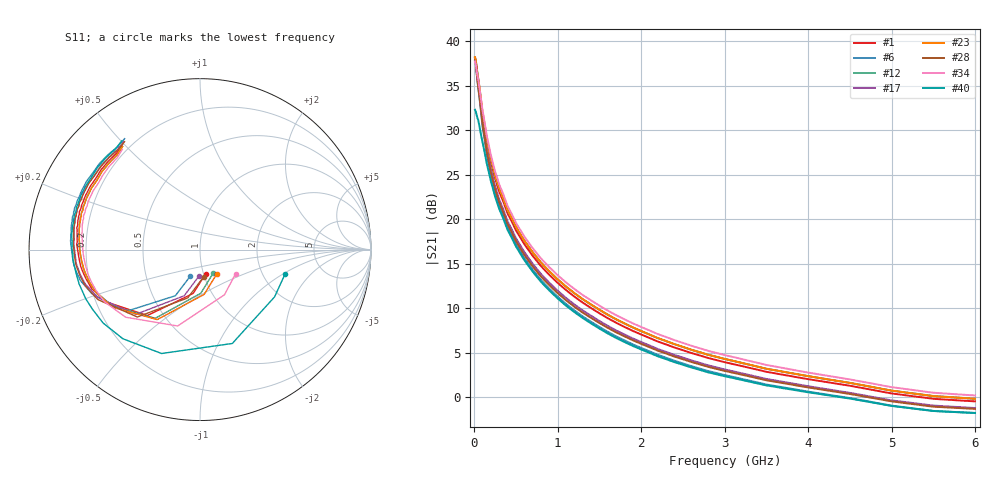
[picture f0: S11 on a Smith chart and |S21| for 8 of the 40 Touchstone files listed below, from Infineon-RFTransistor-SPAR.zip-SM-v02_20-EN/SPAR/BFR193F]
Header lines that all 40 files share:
! Infineon Technologies  Discrete & RF Semiconductors
! BFR193F
! Common Emitter S-Parameters:  Jan 2017
# GHz  S  MA  R  50
!  f  S11  S21  S12  S22
! GHz  MAG  ANG  MAG  ANG  MAG  ANG  MAG  ANG
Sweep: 10 MHz to 6 GHz
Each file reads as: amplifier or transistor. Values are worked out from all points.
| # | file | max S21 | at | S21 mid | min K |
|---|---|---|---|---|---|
| 1 | BFR193F_VCE_4.0V_IC_70mA.s2p | 38.1 dB | 10 MHz | 6.2 dB at 2.2 GHz | 0.26 |
| 2 | BFR193F_VCE_4.0V_IC_72mA.s2p | 38.2 dB | 10 MHz | 6.2 dB at 2.2 GHz | 0.29 |
| 3 | BFR193F_VCE_4.0V_IC_75mA.s2p | 38.2 dB | 10 MHz | 6.0 dB at 2.2 GHz | 0.28 |
| 4 | BFR193F_VCE_4.0V_IC_80mA.s2p | 38.2 dB | 10 MHz | 5.6 dB at 2.2 GHz | 0.31 |
| 5 | BFR193F_VCE_4.0V_IC_85mA.s2p | 38.1 dB | 10 MHz | 5.2 dB at 2.2 GHz | 0.34 |
| 6 | BFR193F_VCE_4.0V_IC_90mA.s2p | 38.0 dB | 10 MHz | 4.7 dB at 2.2 GHz | 0.40 |
| 7 | BFR193F_VCE_4.0V_IC_92mA.s2p | 37.9 dB | 10 MHz | 4.5 dB at 2.2 GHz | 0.39 |
| 8 | BFR193F_VCE_4.0V_IC_95mA.s2p | 37.8 dB | 10 MHz | 4.2 dB at 2.2 GHz | 0.43 |
| 9 | BFR193F_VCE_5.0V_IC_0.10A.s2p | 37.8 dB | 10 MHz | 4.4 dB at 2.2 GHz | 0.42 |
| 10 | BFR193F_VCE_5.0V_IC_0.11A.s2p | 37.2 dB | 10 MHz | 3.3 dB at 2.2 GHz | 0.48 |
| 11 | BFR193F_VCE_5.0V_IC_65mA.s2p | 38.0 dB | 10 MHz | 6.8 dB at 2.2 GHz | 0.23 |
| 12 | BFR193F_VCE_5.0V_IC_70mA.s2p | 38.2 dB | 10 MHz | 6.6 dB at 2.2 GHz | 0.26 |
| 13 | BFR193F_VCE_5.0V_IC_72mA.s2p | 38.2 dB | 10 MHz | 6.5 dB at 2.2 GHz | 0.25 |
| 14 | BFR193F_VCE_5.0V_IC_75mA.s2p | 38.2 dB | 10 MHz | 6.4 dB at 2.2 GHz | 0.25 |
| 15 | BFR193F_VCE_5.0V_IC_80mA.s2p | 38.3 dB | 10 MHz | 6.1 dB at 2.2 GHz | 0.28 |
| 16 | BFR193F_VCE_5.0V_IC_85mA.s2p | 38.2 dB | 10 MHz | 5.8 dB at 2.2 GHz | 0.35 |
| 17 | BFR193F_VCE_5.0V_IC_90mA.s2p | 38.1 dB | 10 MHz | 5.4 dB at 2.2 GHz | 0.36 |
| 18 | BFR193F_VCE_5.0V_IC_92mA.s2p | 38.1 dB | 10 MHz | 5.2 dB at 2.2 GHz | 0.36 |
| 19 | BFR193F_VCE_5.0V_IC_95mA.s2p | 38.0 dB | 10 MHz | 4.9 dB at 2.2 GHz | 0.40 |
| 20 | BFR193F_VCE_6.0V_IC_65mA.s2p | 38.0 dB | 10 MHz | 7.0 dB at 2.2 GHz | 0.22 |
| 21 | BFR193F_VCE_6.0V_IC_70mA.s2p | 38.1 dB | 10 MHz | 6.8 dB at 2.2 GHz | 0.22 |
| 22 | BFR193F_VCE_6.0V_IC_72mA.s2p | 38.2 dB | 10 MHz | 6.8 dB at 2.2 GHz | 0.23 |
| 23 | BFR193F_VCE_6.0V_IC_75mA.s2p | 38.2 dB | 10 MHz | 6.6 dB at 2.2 GHz | 0.25 |
| 24 | BFR193F_VCE_6.0V_IC_80mA.s2p | 38.2 dB | 10 MHz | 6.4 dB at 2.2 GHz | 0.26 |
| 25 | BFR193F_VCE_6.0V_IC_85mA.s2p | 38.1 dB | 10 MHz | 6.0 dB at 2.2 GHz | 0.31 |
| 26 | BFR193F_VCE_6.0V_IC_90mA.s2p | 38.0 dB | 10 MHz | 5.7 dB at 2.2 GHz | 0.36 |
| 27 | BFR193F_VCE_6.0V_IC_92mA.s2p | 37.9 dB | 10 MHz | 5.5 dB at 2.2 GHz | 0.36 |
| 28 | BFR193F_VCE_6.0V_IC_95mA.s2p | 37.8 dB | 10 MHz | 5.2 dB at 2.2 GHz | 0.37 |
| 29 | BFR193F_VCE_7.0V_IC_65mA.s2p | 37.9 dB | 10 MHz | 7.1 dB at 2.2 GHz | 0.20 |
| 30 | BFR193F_VCE_7.0V_IC_70mA.s2p | 38.0 dB | 10 MHz | 6.9 dB at 2.2 GHz | 0.22 |
| 31 | BFR193F_VCE_7.0V_IC_72mA.s2p | 38.0 dB | 10 MHz | 6.8 dB at 2.2 GHz | 0.25 |
| 32 | BFR193F_VCE_7.0V_IC_75mA.s2p | 38.0 dB | 10 MHz | 6.7 dB at 2.2 GHz | 0.25 |
| 33 | BFR193F_VCE_7.0V_IC_80mA.s2p | 37.9 dB | 10 MHz | 6.3 dB at 2.2 GHz | 0.30 |
| 34 | BFR193F_VCE_8.0V_IC_65mA.s2p | 37.7 dB | 10 MHz | 7.1 dB at 2.2 GHz | 0.21 |
| 35 | BFR193F_VCE_8.0V_IC_70mA.s2p | 37.7 dB | 10 MHz | 6.7 dB at 2.2 GHz | 0.23 |
| 36 | BFR193F_VCE_8.0V_IC_72mA.s2p | 37.6 dB | 10 MHz | 6.6 dB at 2.2 GHz | 0.26 |
| 37 | BFR193F_w_noise_VCE_1.0V_IC_5.0mA.s2p | 24.4 dB | 10 MHz | 2.6 dB at 2.2 GHz | 0.00 |
| 38 | BFR193F_w_noise_VCE_1.0V_IC_8.0mA.s2p | 27.8 dB | 10 MHz | 3.7 dB at 2.2 GHz | 0.02 |
| 39 | BFR193F_w_noise_VCE_1.0V_IC_10mA.s2p | 29.4 dB | 10 MHz | 4.1 dB at 2.2 GHz | 0.03 |
| 40 | BFR193F_w_noise_VCE_1.0V_IC_16mA.s2p | 32.3 dB | 10 MHz | 4.6 dB at 2.2 GHz | 0.07 |

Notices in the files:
Hoja de datos/BFP 450/Infineon-RFTransistor-SPAR.zip-SM-v02_20-EN/SPAR/BFR193F/BFR193F_VCE_4.0V_IC_70mA.s2p:
(c) 2017  Infineon Technologies AG, Munich
